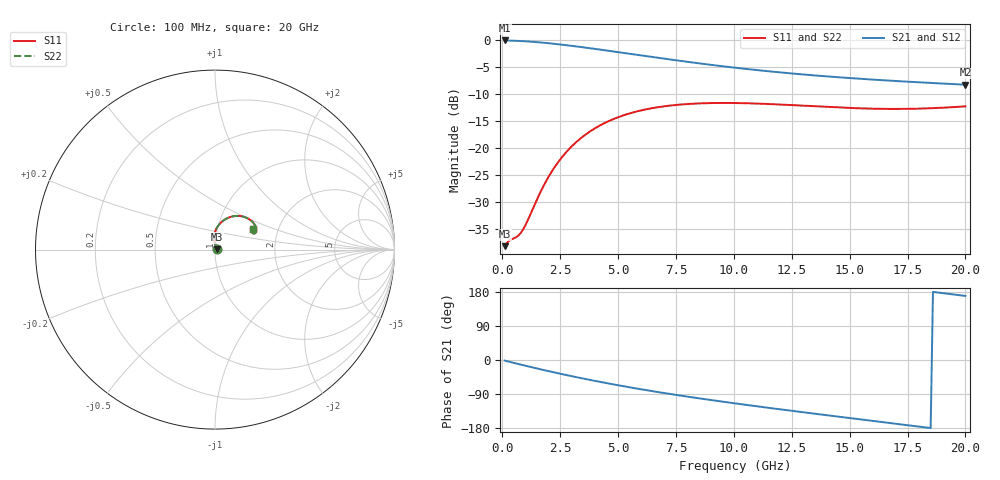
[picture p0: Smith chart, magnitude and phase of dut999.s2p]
! Touchstone file exported from HFSS 2024.1.0
!  File:  C:/UserFiles/LocalFiles/RDL_TSV_Batchsim/temp_RDL_TSV_999_1779977298.aedt
!  Generated:  10:24:37 PM May 28, 2026
!  Design:  RDL_TSV
!  Project:  temp_RDL_TSV_999_1779977298
!  Setup:  Setup1
!  Solution:  Sweep
! Variables:
!  dtsv = 5.14um
!  hbump = 3um
!  htsv = 90.75um
!  ldown = 283.34um
!  lrdl = 445.41um
!  p = 40
!  p1 = 49.22um
!  rhole = 10um
!  subl = 2631.66um
!  t = 450um
!  tdown = 3.27um
!  trdl = 4.18um
!  viad = 10um
!  wdown = 23.34um
!  wrdl = 29um
!  xbump = 18um
# GHz S MA R 50.000000
! Terminal data exported
! Port[1] = TM1_1_T1
! Port[2] = TM1_4_T1
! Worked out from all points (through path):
!   200 points, 100 MHz to 20 GHz, reference 50 ohm
!   highest |S21| = -0.11 dB at 100 MHz (marker M1); lowest = -8.3 dB at 20 GHz (marker M2)
!   group delay of S21, straight-line fit = 25.2 ps
!   lowest |S11| = -38.2 dB at 100 MHz (marker M3), VSWR 1.02, Z = 51.2 + j0.238 ohm
!   |S11| at or under -10 dB: start of sweep to end of sweep
!   |S22| runs from -38.2 to -11.7 dB; largest |S21 - S12| = 1e-14
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0.1  0.01232 10.9  0.9876 -1.6  0.9876 -1.6  0.01232 10.9
! Gamma 0 0 0 0
! Port Impedance 50 0 50 0
0.3  0.01387 23.7  0.9851 -4.7  0.9851 -4.7  0.01387 23.7
0.6  0.01493 41.8  0.98 -9.2  0.98 -9.2  0.01493 41.8
0.8  0.01636 56.5  0.9756 -12.2  0.9756 -12.2  0.01636 56.5
1  0.01929 70.4  0.9703 -15.1  0.9703 -15.1  0.01928 70.4
1.7  0.04116 93.4  0.9448 -25.2  0.9448 -25.2  0.04114 93.4
2.2  0.06355 94.7  0.9218 -32.2  0.9218 -32.2  0.06351 94.7
2.5  0.07824 93.2  0.9068 -36.2  0.9068 -36.2  0.07821 93.2
2.8  0.09335 90.8  0.8911 -40.2  0.8911 -40.2  0.09331 90.8
3.5  0.1284 83.7  0.8531 -49.1  0.8531 -49.1  0.1283 83.7
4.2  0.1607 75.9  0.8142 -57.5  0.8142 -57.5  0.1607 75.9
4.9  0.1887 68.4  0.7758 -65.5  0.7758 -65.5  0.1887 68.4
5.8  0.2174 59.4  0.7282 -75.2  0.7282 -75.2  0.2173 59.4
6.8  0.2396 50.6  0.6789 -85.4  0.6789 -85.4  0.2396 50.6
8.4  0.2576 39.3  0.6102 -100.3  0.6102 -100.3  0.2577 39.3
10.1  0.2603 30.6  0.5511 -114.9  0.5511 -114.9  0.2604 30.6
11.7  0.2539 25.4  0.5072 -127.8  0.5072 -127.8  0.254 25.4
13.4  0.2433 22.6  0.4705 -141.0  0.4705 -141.0  0.2435 22.6
15  0.2343 22.3  0.4432 -153.2  0.4432 -153.2  0.2345 22.3
16.7  0.2296 24.0  0.4198 -166.0  0.4198 -166.0  0.2298 24.0
18.3  0.2321 26.5  0.4016 -178.1  0.4016 -178.1  0.2322 26.5
20  0.2425 29.0  0.3849 169.1  0.3849 169.1  0.2425 28.9
